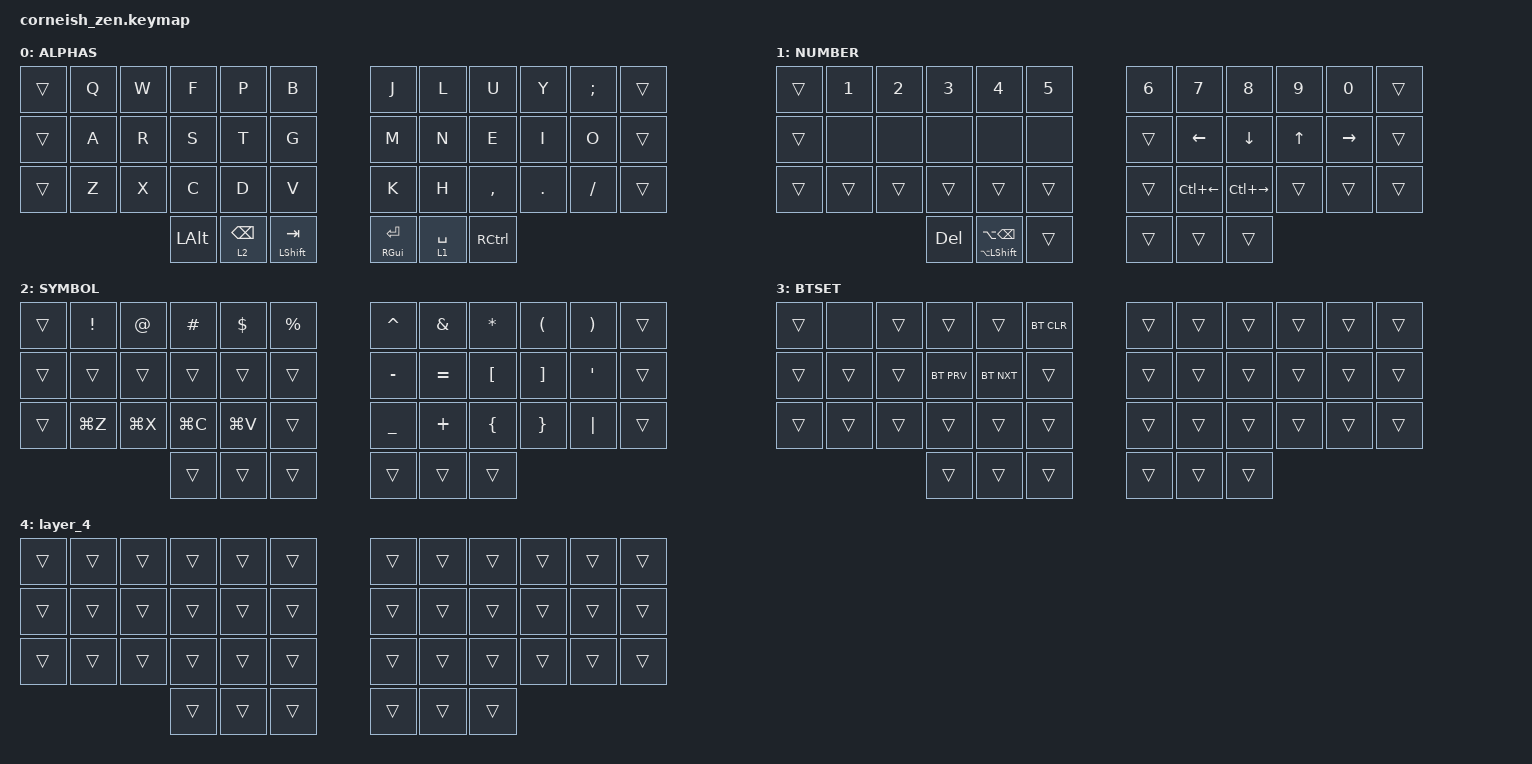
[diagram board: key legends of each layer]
#include <behaviors.dtsi>
#include <dt-bindings/zmk/bt.h>
#include <dt-bindings/zmk/keys.h>

&mt { flavor = "tap-preferred"; };

/ {
    chosen {
        zmk,matrix_transform = &default_transform;

        //zmk,matrix_transform = &five_column_transform;
    };
};

/ {
    combos {
        compatible = "zmk,combos";

        Escape {
            bindings = <&kp ESCAPE>;
            key-positions = <38 39>;
        };

        EscapeHR {
            bindings = <&kp ESCAPE>;
            key-positions = <14 15 16>;
        };

        Layer3 {
            bindings = <&mo 3>;
            key-positions = <37 40>;
        };
    };

    keymap {
        compatible = "zmk,keymap";

        default_layer {
            label = "ALPHAS";

            // -----------------------------------------------------------------------------------------
            // |  TAB |  Q  |  W  |  E  |  R  |  T  |   |  Y  |  U   |  I  |  O  |  P  | BKSP |
            // | CTRL |  A  |  S  |  D  |  F  |  G  |   |  H  |  J   |  K  |  L  |  ;  |  '   |
            // | SHFT |  Z  |  X  |  C  |  V  |  B  |   |  N  |  M   |  ,  |  .  |  /  | ESC  |
            //                    | GUI | LWR | ENT |   | SPC | RSE  | ALT |

            bindings = <
&trans  &kp Q  &kp W  &kp F         &kp P            &kp B                 &kp J                &kp L        &kp U              &kp Y    &kp SEMICOLON  &trans
&trans  &kp A  &kp R  &kp S         &kp T            &kp G                 &kp M                &kp N        &kp E              &kp I    &kp O          &trans
&trans  &kp Z  &kp X  &kp C         &kp D            &kp V                 &kp K                &kp H        &kp COMMA          &kp DOT  &kp FSLH       &trans
                      &kp LEFT_ALT  &lt 2 BACKSPACE  &mt LEFT_SHIFT TAB    &mt RIGHT_GUI ENTER  &lt 1 SPACE  &kp RIGHT_CONTROL
            >;
        };

        lower_layer {
            label = "NUMBER";

            // -----------------------------------------------------------------------------------------
            // |  TAB |  1  |  2  |  3  |  4  |  5  |   |  6  |  7  |  8  |  9  |  0  | BKSP |
            // | BTCLR| BT1 | BT2 | BT3 | BT4 | BT5 |   | LFT | DWN |  UP | RGT |     |      |
            // | SHFT |     |     |     |     |     |   |     |     |     |     |     |      |
            //                    | GUI |     | ENT |   | SPC |     | ALT |

            bindings = <
&trans  &kp N1  &kp N2  &kp N3      &kp N4                            &kp N5    &kp N6  &kp N7              &kp N8               &kp N9        &kp N0     &trans
&trans  &none   &none   &none       &none                             &none     &trans  &kp LEFT_ARROW      &kp DOWN             &kp UP_ARROW  &kp RIGHT  &trans
&trans  &trans  &trans  &trans      &trans                            &trans    &trans  &kp LC(LEFT_ARROW)  &kp LC(RIGHT_ARROW)  &trans        &trans     &trans
                        &kp DELETE  &mt LA(LEFT_SHIFT) LA(BACKSPACE)  &trans    &trans  &trans              &trans
            >;
        };

        raise_layer {
            label = "SYMBOL";

            // -----------------------------------------------------------------------------------------
            // |  TAB |  !  |  @  |  #  |  $  |  %  |   |  ^  |  &  |  *  |  (  |  )  | BKSP |
            // | CTRL |     |     |     |     |     |   |  -  |  =  |  [  |  ]  |  \  |  `   |
            // | SHFT |     |     |     |     |     |   |  _  |  +  |  {  |  }  | "|" |  ~   |
            //                    | GUI |     | ENT |   | SPC |     | ALT |

            bindings = <
&trans  &kp EXCL   &kp AT     &kp HASH   &kp DLLR   &kp PRCNT    &kp CARET  &kp AMPS   &kp STAR  &kp LPAR  &kp RPAR  &trans
&trans  &trans     &trans     &trans     &trans     &trans       &kp MINUS  &kp EQUAL  &kp LBKT  &kp RBKT  &kp APOS  &trans
&trans  &kp LG(Z)  &kp LG(X)  &kp LG(C)  &kp LG(V)  &trans       &kp UNDER  &kp PLUS   &kp LBRC  &kp RBRC  &kp PIPE  &trans
                              &trans     &trans     &trans       &trans     &trans     &trans
            >;
        };

        Bluetooth {
            label = "BTSET";
            bindings = <
&trans  &none   &trans  &trans      &trans      &bt BT_CLR    &trans  &trans  &trans  &trans  &trans  &trans
&trans  &trans  &trans  &bt BT_PRV  &bt BT_NXT  &trans        &trans  &trans  &trans  &trans  &trans  &trans
&trans  &trans  &trans  &trans      &trans      &trans        &trans  &trans  &trans  &trans  &trans  &trans
                        &trans      &trans      &trans        &trans  &trans  &trans
            >;
        };

        layer_4 {
            bindings = <
&trans  &trans  &trans  &trans  &trans  &trans    &trans  &trans  &trans  &trans  &trans  &trans
&trans  &trans  &trans  &trans  &trans  &trans    &trans  &trans  &trans  &trans  &trans  &trans
&trans  &trans  &trans  &trans  &trans  &trans    &trans  &trans  &trans  &trans  &trans  &trans
                        &trans  &trans  &trans    &trans  &trans  &trans
            >;
        };
    };
};
